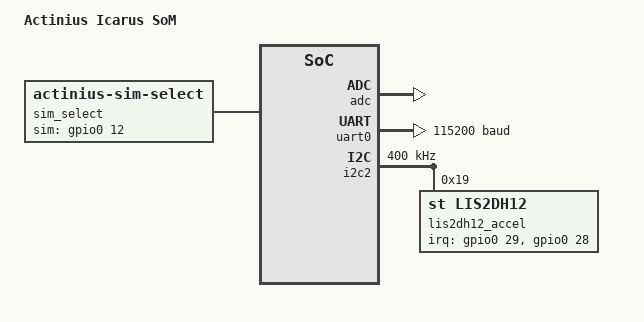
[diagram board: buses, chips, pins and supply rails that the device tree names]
/*
 * Copyright (c) 2021-2022 Actinius
 *
 * SPDX-License-Identifier: Apache-2.0
 */
#include "actinius_icarus_som_common-pinctrl.dtsi"

/ {
	model = "Actinius Icarus SoM";
	compatible = "actinius,icarus_som";

	chosen {
		zephyr,console = &uart0;
		zephyr,shell-uart = &uart0;
		zephyr,uart-mcumgr = &uart0;
	};

	aliases {
		watchdog0 = &wdt0;
		accel0 = &lis2dh12_accel;
	};

	sim_select: sim-select {
		compatible = "actinius-sim-select";
		sim-gpios = <&gpio0 12 GPIO_ACTIVE_HIGH>;
		sim = "esim";
	};
};

&adc {
	status ="okay";
};

&gpiote {
	status = "okay";
};

&gpio0 {
	status = "okay";
};

&uart0 {
	status = "okay";

	current-speed = <115200>;
	pinctrl-0 = <&uart0_default>;
	pinctrl-1 = <&uart0_sleep>;
	pinctrl-names = "default", "sleep";
};

&i2c2 {
	compatible = "nordic,nrf-twim";
	status = "okay";

	clock-frequency = <I2C_BITRATE_FAST>;

	pinctrl-0 = <&i2c2_default>;
	pinctrl-1 = <&i2c2_sleep>;
	pinctrl-names = "default", "sleep";
	lis2dh12_accel: lis2dh12-accel@19 {
		compatible = "st,lis2dh12", "st,lis2dh";
		reg = <0x19>;
		irq-gpios = <&gpio0 29 GPIO_ACTIVE_HIGH>,
			  <&gpio0 28 GPIO_ACTIVE_HIGH>;
	};
};

&flash0 {
	partitions {
		compatible = "fixed-partitions";
		#address-cells = <1>;
		#size-cells = <1>;

		boot_partition: partition@0 {
			label = "mcuboot";
			reg = <0x00000000 0x10000>;
		};
		slot0_partition: partition@10000 {
			label = "image-0";
		};
		slot0_ns_partition: partition@50000 {
			label = "image-0-nonsecure";
		};
		slot1_partition: partition@80000 {
			label = "image-1";
		};
		slot1_ns_partition: partition@c0000 {
			label = "image-1-nonsecure";
		};
		scratch_partition: partition@f0000 {
			label = "image-scratch";
			reg = <0x000f0000 0xa000>;
		};
		storage_partition: partition@fa000 {
			label = "storage";
			reg = <0x000fa000 0x00006000>;
		};
	};
};

/ {

	reserved-memory {
		#address-cells = <1>;
		#size-cells = <1>;
		ranges;

		sram0_s: image_s@20000000 {
			/* Secure image memory */
		};

		sram0_modem: image_modem@20016000 {
			/* Modem (shared) memory */
		};

		sram0_ns: image_ns@20020000 {
			/* Non-Secure image memory */
		};
	};
};

/* Include partition configuration file */
#include "actinius_icarus_som_partition_conf.dts"
